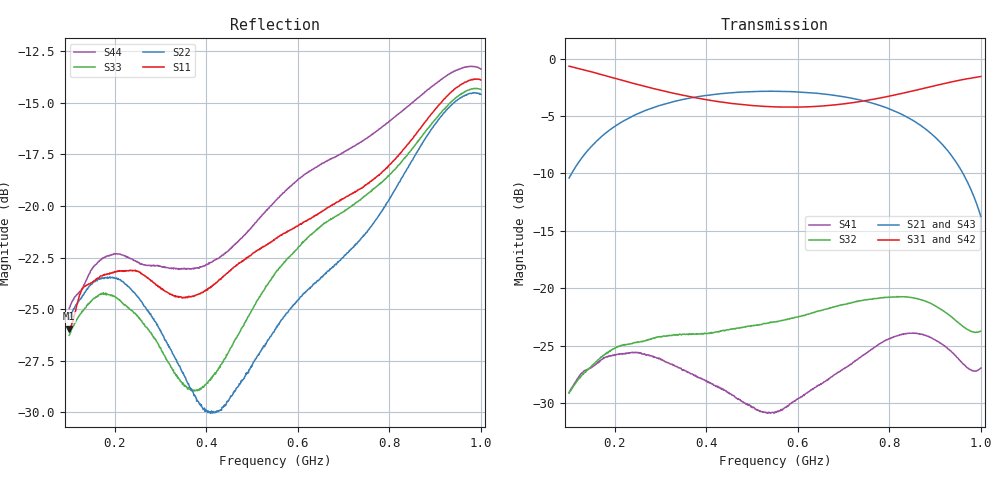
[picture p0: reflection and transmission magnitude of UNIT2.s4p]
!Mini-Circuits Laboratory
!S-Parameters
!MODEL: QBA-07+
!Run/Lot/Date Code:MU98180/1420
!DATA FOR:UNIT#2
!Fixture/SN/Due:TB-115;WITH PORT EXTENTION
!Connection:PORT-1-pin<1>;PORT-2-pin<10>;PORT-3-pin<6>;PORT-4-pin<5>
!Created: 10-29-2015 at 12:49:36
# MHZ S DB R 50
!Frequency  S11 dB  S11 DEG  S12 dB  S12 DEG  S13 dB  S13 DEG  S14 dB  S14 DEG
!  S21 dB  S21 DEG  S22 dB  S22 DEG  S23 dB  S23 DEG  S24 dB  S24 DEG
!  S31 dB  S31 DEG  S32 dB  S32 DEG  S33 dB  S33 DEG  S34 dB  S34 DEG
!  S41 dB  S41 DEG  S42 dB  S42 DEG  S43 dB  S43 DEG  S44 dB  S44 DEG
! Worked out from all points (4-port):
!   901 points, 100 MHz to 1 GHz, reference 50 ohm
!   strongest paths, dB at 100 MHz, 325 MHz, 550 MHz, 775 MHz, 1 GHz:
!     S31: -0.7, -3.0, -4.2, -3.5, -1.6
!     S42: -0.7, -3.0, -4.2, -3.5, -1.6
!     S21: -10.4, -3.8, -2.8, -4.0, -13.8
!     S43: -10.4, -3.8, -2.9, -4.1, -13.7
!     S32: -29.1, -24.1, -22.9, -20.9, -23.7
!     S41: -29.1, -26.6, -30.8, -24.9, -27.0
!   lowest |S11| = -26.0 dB at 100 MHz (marker M1), VSWR 1.11, Z = 48.6 - j4.78 ohm
!   |S11| at or under -10 dB: start of sweep to end of sweep
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100  -25.95 -103.5  -10.39 60.0  -0.67 -28.2  -29.27 47.4
     -10.40 60.0  -25.50 -110.4  -29.11 37.6  -0.66 -28.3
     -0.66 -28.3  -29.14 38.0  -26.27 -110.1  -10.40 59.9
     -29.10 47.0  -0.66 -28.3  -10.41 60.0  -24.98 -105.9
248  -23.17 -137.8  -4.84 27.5  -2.24 -61.6  -25.82 -26.4
     -4.84 27.5  -24.35 -156.5  -24.66 -46.9  -2.23 -61.6
     -2.24 -61.6  -24.73 -47.0  -25.32 -153.3  -4.84 27.5
     -25.58 -26.2  -2.24 -61.6  -4.84 27.4  -22.71 -138.5
374  -24.36 -131.7  -3.37 6.0  -3.40 -84.0  -27.72 -81.7
     -3.37 6.0  -29.18 -147.5  -24.01 -105.4  -3.40 -84.1
     -3.40 -84.0  -24.00 -105.9  -28.93 -134.5  -3.37 5.9
     -27.62 -80.4  -3.40 -84.1  -3.38 5.9  -23.04 -128.0
489  -22.50 -116.8  -2.89 -11.2  -4.05 -101.9  -30.07 -139.1
     -2.89 -11.2  -28.13 -103.7  -23.31 -154.7  -4.05 -102.0
     -4.05 -102.0  -23.33 -154.9  -25.48 -103.8  -2.90 -11.3
     -30.06 -138.1  -4.05 -102.0  -2.91 -11.2  -21.28 -115.8
793  -18.16 -100.0  -4.28 -57.2  -3.33 -149.8  -24.52 62.7
     -4.28 -57.3  -19.93 -73.9  -20.80 91.4  -3.35 -149.8
     -3.33 -149.8  -20.79 91.3  -18.65 -97.2  -4.33 -56.8
     -24.50 62.6  -3.35 -149.8  -4.33 -56.8  -16.01 -112.6
920  -14.80 -102.9  -7.67 -80.8  -2.18 -177.2  -25.00 23.1
     -7.67 -80.8  -15.46 -79.9  -22.02 51.5  -2.19 -177.1
     -2.18 -177.2  -22.03 51.5  -15.29 -100.7  -7.70 -79.4
     -25.00 23.2  -2.19 -177.1  -7.70 -79.4  -13.75 -118.5
1000  -13.89 -117.4  -13.76 -93.4  -1.56 161.1  -26.96 39.3
      -13.76 -93.4  -14.58 -96.8  -23.73 56.2  -1.56 161.3
      -1.56 161.1  -23.73 56.2  -14.34 -115.7  -13.72 -89.8
      -26.95 39.5  -1.56 161.3  -13.73 -89.9  -13.35 -133.2
